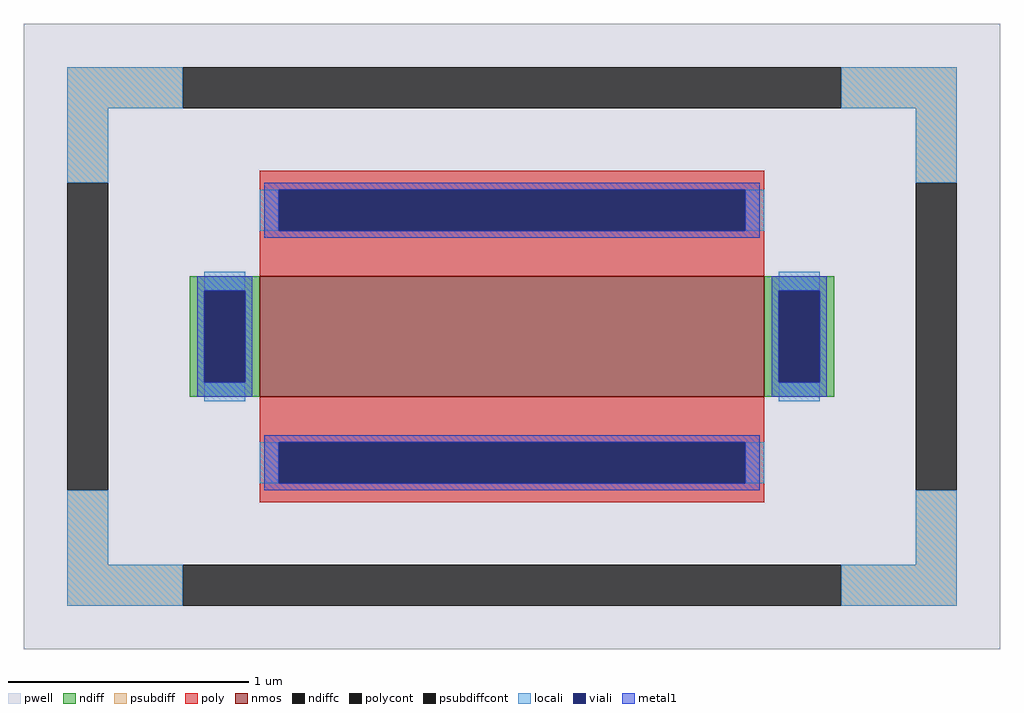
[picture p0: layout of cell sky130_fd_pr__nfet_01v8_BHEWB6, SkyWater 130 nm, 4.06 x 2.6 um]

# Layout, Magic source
magic
tech sky130A
<< pwell >>
rect -203 -130 203 130
<< nmos >>
rect -105 -25 105 25
<< ndiff >>
rect -134 19 -105 25
rect -134 -19 -128 19
rect -111 -19 -105 19
rect -134 -25 -105 -19
rect 105 19 134 25
rect 105 -19 111 19
rect 128 -19 134 19
rect 105 -25 134 -19
<< ndiffc >>
rect -128 -19 -111 19
rect 111 -19 128 19
<< psubdiff >>
rect -185 95 -137 112
rect 137 95 185 112
rect -185 64 -168 95
rect 168 64 185 95
rect -185 -95 -168 -64
rect 168 -95 185 -64
rect -185 -112 -137 -95
rect 137 -112 185 -95
<< psubdiffcont >>
rect -137 95 137 112
rect -185 -64 -168 64
rect 168 -64 185 64
rect -137 -112 137 -95
<< poly >>
rect -105 61 105 69
rect -105 44 -97 61
rect 97 44 105 61
rect -105 25 105 44
rect -105 -44 105 -25
rect -105 -61 -97 -44
rect 97 -61 105 -44
rect -105 -69 105 -61
<< polycont >>
rect -97 44 97 61
rect -97 -61 97 -44
<< locali >>
rect -185 95 -137 112
rect 137 95 185 112
rect -185 64 -168 95
rect 168 64 185 95
rect -105 44 -97 61
rect 97 44 105 61
rect -128 19 -111 27
rect -128 -27 -111 -19
rect 111 19 128 27
rect 111 -27 128 -19
rect -105 -61 -97 -44
rect 97 -61 105 -44
rect -185 -95 -168 -64
rect 168 -95 185 -64
rect -185 -112 -137 -95
rect 137 -112 185 -95
<< viali >>
rect -97 44 97 61
rect -128 -19 -111 19
rect 111 -19 128 19
rect -97 -61 97 -44
<< metal1 >>
rect -103 61 103 64
rect -103 44 -97 61
rect 97 44 103 61
rect -103 41 103 44
rect -131 19 -108 25
rect -131 -19 -128 19
rect -111 -19 -108 19
rect -131 -25 -108 -19
rect 108 19 131 25
rect 108 -19 111 19
rect 128 -19 131 19
rect 108 -25 131 -19
rect -103 -44 103 -41
rect -103 -61 -97 -44
rect 97 -61 103 -44
rect -103 -64 103 -61
<< properties >>
string FIXED_BBOX -176 -103 176 103
string gencell sky130_fd_pr__nfet_01v8
string library sky130
string parameters w 0.5 l 2.1 m 1 nf 1 diffcov 100 polycov 100 guard 1 glc 1 grc 1 gtc 1 gbc 1 tbcov 100 rlcov 100 topc 1 botc 1 poverlap 0 doverlap 1 lmin 0.15 wmin 0.42 compatible {sky130_fd_pr__nfet_01v8 sky130_fd_pr__nfet_01v8_lvt  sky130_fd_bs_flash__special_sonosfet_star  sky130_fd_pr__nfet_g5v0d10v5 sky130_fd_pr__nfet_05v0_nvt  sky130_fd_pr__nfet_03v3_nvt} full_metal 1 viasrc 100 viadrn 100 viagate 100 viagb 0 viagr 0 viagl 0 viagt 0
<< end >>
